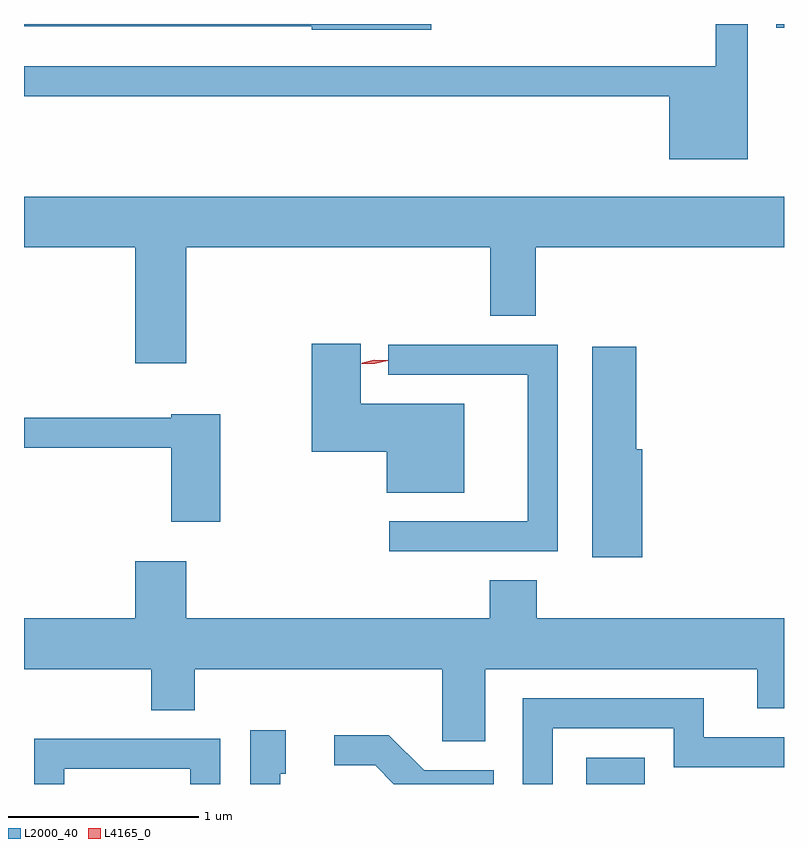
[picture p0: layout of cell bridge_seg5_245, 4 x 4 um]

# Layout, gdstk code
import gdstk
lib = gdstk.Library(unit=1e-6, precision=1e-09)
def R(c, l, rs):  # rectangles x0, y0, x1, y1
    for r in rs: c.add(gdstk.rectangle(r[:2], r[2:], *l))
def P(c, l, *ps):  # polygons
    for p in ps: c.add(gdstk.Polygon(p, *l))
L2000_40 = (2000, 40)
L4165_0 = (4165, 0)

bridge_seg5_245 = lib.new_cell('bridge_seg5_245')
R(bridge_seg5_245, L2000_40, [(976.691,1462.852,976.999,1462.989), (977.691,1466.831,977.731,1466.852)])
P(bridge_seg5_245, L2000_40, [(975.874,1466.852),(973.731,1466.852),(973.731,1466.841),(975.246,1466.841),(975.246,1466.821),(975.874,1466.821)],
  [(977.539,1466.852),(977.371,1466.852),(977.371,1466.629),(973.731,1466.629),(973.731,1466.471),(977.126,1466.471),(977.126,1466.141),(977.539,1466.141)],
  [(974.584,1465.676),(976.186,1465.676),(976.186,1465.316),(976.424,1465.316),(976.424,1465.676),(977.731,1465.676),(977.731,1465.944),(973.731,1465.944),(973.731,1465.676),(974.316,1465.676),(974.316,1465.066),(974.584,1465.066)],
  [(976.049,1464.854),(975.504,1464.854),(975.504,1465.169),(975.246,1465.169),(975.246,1464.601),(975.641,1464.601),(975.641,1464.386),(976.049,1464.386)],
  [(976.539,1465.164),(975.648,1465.164),(975.648,1465.006),(976.381,1465.006),(976.381,1464.234),(975.653,1464.234),(975.653,1464.076),(976.539,1464.076)],
  [(976.984,1464.614),(976.954,1464.614),(976.954,1465.154),(976.721,1465.154),(976.721,1464.046),(976.984,1464.046)],
  [(974.764,1464.799),(974.506,1464.799),(974.506,1464.779),(973.731,1464.779),(973.731,1464.621),(974.506,1464.621),(974.506,1464.231),(974.764,1464.231)],
  [(974.401,1463.241),(974.629,1463.241),(974.629,1463.456),(975.931,1463.456),(975.931,1463.076),(976.159,1463.076),(976.159,1463.456),(977.591,1463.456),(977.591,1463.251),(977.731,1463.251),(977.731,1463.724),(976.429,1463.724),(976.429,1463.924),(976.181,1463.924),(976.181,1463.724),(974.584,1463.724),(974.584,1464.024),(974.316,1464.024),(974.316,1463.724),(973.731,1463.724),(973.731,1463.456),(974.401,1463.456)],
  [(976.514,1463.146),(977.151,1463.146),(977.151,1462.941),(977.731,1462.941),(977.731,1463.099),(977.309,1463.099),(977.309,1463.304),(976.356,1463.304),(976.356,1462.852),(976.514,1462.852)],
  [(975.079,1462.906),(975.109,1462.906),(975.109,1463.134),(974.921,1463.134),(974.921,1462.852),(975.079,1462.852)],
  [(976.204,1462.924),(975.837,1462.924),(975.652,1463.109),(975.363,1463.109),(975.363,1462.951),(975.579,1462.951),(975.678,1462.852),(976.204,1462.852)],
  [(973.944,1462.931),(974.606,1462.931),(974.606,1462.852),(974.764,1462.852),(974.764,1463.089),(973.786,1463.089),(973.786,1462.852),(973.944,1462.852)])
P(bridge_seg5_245, L4165_0, [(975.578,1465.063),(975.509,1465.065),(975.508,1465.065),(975.509,1465.066),(975.576,1465.083),(975.645,1465.081),(975.646,1465.08),(975.645,1465.08)],
  [(975.577,1465.064),(975.511,1465.067),(975.51,1465.068),(975.511,1465.068),(975.575,1465.084),(975.642,1465.081),(975.642,1465.08),(975.642,1465.08)])

lib.write_gds('bridge_seg5_245.gds')
